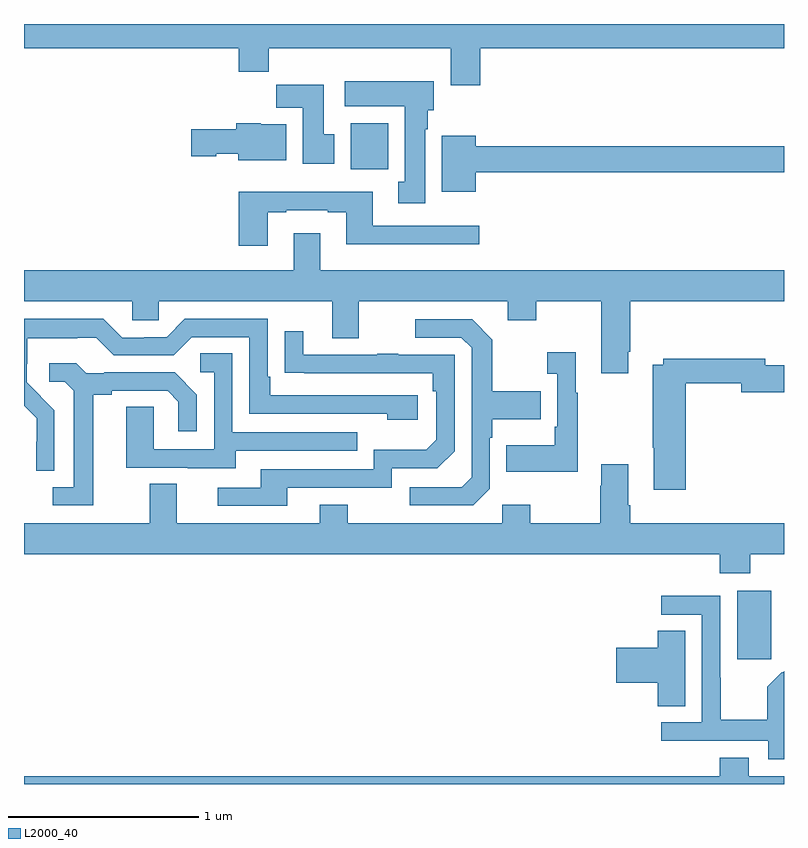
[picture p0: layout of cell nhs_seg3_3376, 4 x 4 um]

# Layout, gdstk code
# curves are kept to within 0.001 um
import gdstk
lib = gdstk.Library(unit=1e-6, precision=1e-09)
def R(c, l, rs):  # rectangles x0, y0, x1, y1
    for r in rs: c.add(gdstk.rectangle(r[:2], r[2:], *l))
def P(c, l, *ps):  # polygons
    for p in ps: c.add(gdstk.Polygon(p, *l))
L2000_40 = (2000, 40)

nhs_seg3_3376 = lib.new_cell('nhs_seg3_3376')
R(nhs_seg3_3376, L2000_40, [(290.753,675.057,290.932,675.418), (288.719,677.636,288.916,677.878)])
P(nhs_seg3_3376, L2000_40, [(289.4,678.272),(291,678.272),(291,678.4),(287,678.4),(287,678.272),(288.131,678.272),(288.131,678.148),(288.287,678.148),(288.287,678.272),(289.247,678.272),(289.247,678.078),(289.4,678.078)],
  [(289.111,677.846),(289.126,677.846),(289.126,677.946),(289.156,677.946),(289.156,678.1),(288.687,678.1),(288.687,677.966),(289.004,677.966),(289.004,677.57),(288.971,677.57),(288.971,677.457),(289.111,677.457)],
  [(288.634,677.82),(288.577,677.82),(288.577,678.079),(288.328,678.079),(288.328,677.96),(288.467,677.96),(288.467,677.664),(288.634,677.664)],
  [(288.379,677.872),(288.246,677.872),(288.246,677.878),(288.116,677.878),(288.116,677.847),(287.88,677.847),(287.88,677.705),(288.012,677.705),(288.012,677.717),(288.128,677.717),(288.128,677.684),(288.379,677.684)],
  [(289.378,677.62),(291,677.62),(291,677.756),(289.378,677.756),(289.378,677.812),(289.199,677.812),(289.199,677.516),(289.378,677.516)],
  [(288.283,677.409),(288.379,677.409),(288.379,677.421),(288.599,677.421),(288.599,677.409),(288.695,677.409),(288.695,677.24),(289.396,677.24),(289.396,677.337),(288.835,677.337),(288.835,677.518),(288.131,677.518),(288.131,677.232),(288.283,677.232)],
  [(290.179,676.675),(290.192,676.675),(290.192,676.94),(291,676.94),(291,677.104),(288.559,677.104),(288.559,677.299),(288.419,677.299),(288.419,677.104),(287,677.104),(287,676.94),(287.571,676.94),(287.571,676.842),(287.709,676.842),(287.709,676.94),(288.623,676.94),(288.623,676.746),(288.763,676.746),(288.763,676.94),(289.547,676.94),(289.547,676.841),(289.695,676.841),(289.695,676.94),(290.039,676.94),(290.039,676.563),(290.179,676.563)],
  [(287.16,676.366),(287.014,676.514),(287.014,676.611),(287.016,676.611),(287.016,676.745),(287.279,676.745),(287.279,676.749),(287.379,676.749),(287.472,676.656),(287.787,676.656),(287.883,676.752),(288.186,676.752),(288.186,676.35),(288.911,676.35),(288.911,676.316),(289.072,676.316),(289.072,676.446),(288.295,676.446),(288.295,676.543),(288.282,676.543),(288.282,676.848),(287.847,676.848),(287.751,676.752),(287.633,676.752),(287.633,676.749),(287.517,676.749),(287.417,676.849),(287,676.849),(287,676.39),(287.066,676.325),(287.066,676.202),(287.064,676.202),(287.064,676.048),(287.16,676.048)],
  [(289.452,675.954),(289.452,676.223),(289.465,676.223),(289.465,676.319),(289.721,676.319),(289.721,676.467),(289.465,676.467),(289.465,676.739),(289.359,676.845),(289.059,676.845),(289.059,676.749),(289.302,676.749),(289.356,676.695),(289.356,676.014),(289.305,675.963),(289.029,675.963),(289.029,675.867),(289.365,675.867)],
  [(288.385,675.96),(288.936,675.96),(288.936,676.062),(289.176,676.062),(289.266,676.152),(289.266,676.659),(288.971,676.659),(288.971,676.664),(288.859,676.664),(288.859,676.659),(288.469,676.659),(288.469,676.783),(288.373,676.783),(288.373,676.564),(289.15,676.563),(289.15,676.466),(289.17,676.466),(289.17,676.212),(289.117,676.159),(288.84,676.159),(288.84,676.056),(288.245,676.056),(288.245,675.96),(288.021,675.96),(288.021,675.864),(288.385,675.864)],
  [(289.915,676.459),(289.903,676.459),(289.903,676.672),(289.755,676.672),(289.755,676.559),(289.806,676.559),(289.806,676.279),(289.794,676.279),(289.794,676.183),(289.537,676.183),(289.537,676.043),(289.915,676.043)],
  [(288.115,676.155),(288.755,676.155),(288.755,676.251),(288.096,676.251),(288.096,676.667),(287.928,676.667),(287.928,676.566),(288,676.566),(288,676.161),(287.682,676.161),(287.682,676.385),(287.537,676.385),(287.537,676.065),(287.861,676.065),(287.861,676.061),(288.115,676.061)],
  [(290.483,676.51),(290.774,676.51),(290.774,676.463),(291,676.463),(291,676.605),(290.902,676.605),(290.902,676.639),(290.364,676.639),(290.364,676.606),(290.308,676.606),(290.308,676.171),(290.315,676.171),(290.315,675.948),(290.483,675.948)],
  [(287.365,676.448),(287.461,676.448),(287.461,676.47),(287.756,676.47),(287.813,676.413),(287.813,676.257),(287.91,676.257),(287.91,676.45),(287.794,676.566),(287.422,676.566),(287.422,676.563),(287.328,676.563),(287.276,676.615),(287.133,676.615),(287.133,676.518),(287.214,676.518),(287.261,676.471),(287.261,675.963),(287.151,675.963),(287.151,675.867),(287.365,675.867)],
  [(290.823,675.608),(291,675.608),(291,675.772),(290.192,675.772),(290.192,675.868),(290.179,675.868),(290.179,676.084),(290.039,676.084),(290.039,675.971),(290.032,675.971),(290.032,675.772),(289.665,675.772),(289.665,675.871),(289.518,675.871),(289.518,675.772),(288.705,675.772),(288.705,675.871),(288.557,675.871),(288.557,675.772),(287.803,675.772),(287.803,675.98),(287.663,675.98),(287.663,675.772),(287,675.772),(287,675.608),(290.663,675.608),(290.663,675.509),(290.823,675.509)],
  [(291,674.994),(290.991,674.985),(290.988,674.988),(290.911,674.911),(290.911,674.737),(290.667,674.737),(290.667,674.96),(290.664,674.96),(290.664,675.39),(290.355,675.39),(290.355,675.291),(290.568,675.291),(290.568,674.724),(290.355,674.724),(290.355,674.628),(290.916,674.628),(290.916,674.531),(291,674.531)],
  [(290.479,675.206),(290.336,675.206),(290.336,675.116),(290.118,675.116),(290.118,674.933),(290.336,674.933),(290.336,674.809),(290.479,674.809)],
  [(291,674.44),(290.815,674.44),(290.815,674.539),(290.663,674.539),(290.663,674.44),(287,674.44),(287,674.4),(291,674.4)])

lib.write_gds('nhs_seg3_3376.gds')
